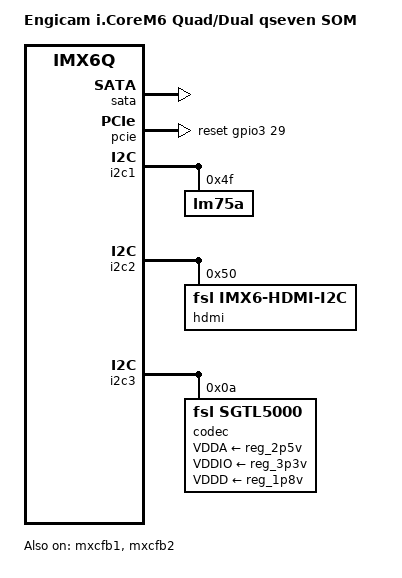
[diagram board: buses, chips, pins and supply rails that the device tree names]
/*
 * Copyright (C) 2013 Freescale Semiconductor, Inc.
 *
 * This program is free software; you can redistribute it and/or modify
 * it under the terms of the GNU General Public License version 2 as
 * published by the Free Software Foundation.
 */

/dts-v1/;

#include "imx6q.dtsi"
#include "imx6qdl-icore-rqs.dtsi"

/ {
	model = "Engicam i.CoreM6 Quad/Dual qseven SOM";
	compatible = "fsl,imx6-icore-rqs", "fsl,imx6q";
	
	aliases {
		mmc1 = &usdhc4;
		mmc0 = &usdhc3;
		mmc2 = &usdhc1;
	};
};

&ldb {
	ipu_id = <0>;
	sec_ipu_id = <0>;
};

&mxcfb1 {
	status = "okay";
};

&mxcfb2 {
	status = "okay";
};

&sata {
        fsl,transmit-level-mV = <1025>;
        fsl,transmit-boost-mdB = <3330>;
        fsl,transmit-atten-16ths = <9>;
        fsl,receive-eq-mdB = <3000>;
        status = "okay";
};


&pcie {
	power-on-gpio = <&gpio3 19 0>;
	reset-gpio = <&gpio3 29 0>;
	status = "okay";
};

&i2c1 {
 
	lm75a@4F {
		compatible = "lm75a";
		reg = <0x4F>;
	};

};

&i2c2 {

	hdmi: edid@50 {
		compatible = "fsl,imx6-hdmi-i2c";
		reg = <0x50>;
	};

};


&i2c3 {

	codec: sgtl5000@0a {
		compatible = "fsl,sgtl5000";
		reg = <0x0a>;
		clocks = <&clks 201>;
		VDDA-supply = <&reg_2p5v>;
		VDDIO-supply = <&reg_3p3v>;
		VDDD-supply = <&reg_1p8v>;
	};

};

&iomuxc {

	hog {
		pinctrl_hog: hoggrp {
			fsl,pins = <
				MX6QDL_PAD_SD2_DAT0__GPIO1_IO15 0x1f059
				MX6QDL_PAD_EIM_D19__GPIO3_IO19 0x1f059 /* not used pin for ADV7180 driver compatibility */
			>;
		};
	};
};


